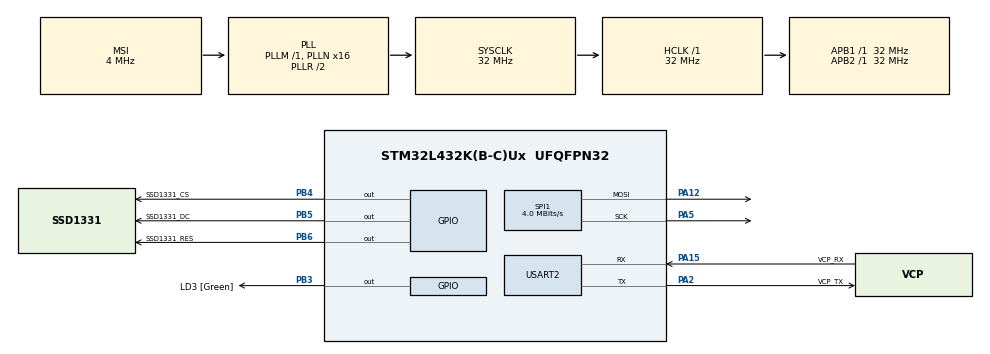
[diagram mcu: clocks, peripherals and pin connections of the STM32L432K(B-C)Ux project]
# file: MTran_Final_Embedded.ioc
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Mcu.Family=STM32L4
Mcu.Name=STM32L432K(B-C)Ux
Mcu.Package=UFQFPN32
NVIC.PriorityGroup=NVIC_PRIORITYGROUP_4
PA0.GPIO_Label=MCO [High speed clock in]
PA0.Mode=HSE-External-Clock-Source-for-LittleOrca
PA0.Signal=RCC_CK_IN
PA12.Mode=TX_Only_Simplex_Unidirect_Master
PA12.Signal=SPI1_MOSI
PA13\ (JTMS-SWDIO).GPIO_Label=SWDIO
PA13\ (JTMS-SWDIO).Mode=Serial_Wire
PA13\ (JTMS-SWDIO).Signal=SYS_JTMS-SWDIO
PA14\ (JTCK-SWCLK).GPIO_Label=SWCLK
PA14\ (JTCK-SWCLK).Mode=Serial_Wire
PA14\ (JTCK-SWCLK).Signal=SYS_JTCK-SWCLK
PA15\ (JTDI).GPIO_Label=VCP_RX
PA15\ (JTDI).Mode=Asynchronous
PA15\ (JTDI).Signal=USART2_RX
PA2.GPIO_Label=VCP_TX
PA2.Mode=Asynchronous
PA2.Signal=USART2_TX
PA5.Mode=TX_Only_Simplex_Unidirect_Master
PA5.Signal=SPI1_SCK
PB3\ (JTDO-TRACESWO).GPIO_Label=LD3 [Green]
PB3\ (JTDO-TRACESWO).Signal=GPIO_Output
PB4\ (NJTRST).GPIO_Label=SSD1331_CS
PB4\ (NJTRST).Signal=GPIO_Output
PB5.GPIO_Label=SSD1331_DC
PB5.Signal=GPIO_Output
PB6.GPIO_Label=SSD1331_RES
PB6.Signal=GPIO_Output
PC14-OSC32_IN\ (PC14).Mode=LSE-External-Oscillator
PC14-OSC32_IN\ (PC14).Signal=RCC_OSC32_IN
PC15-OSC32_OUT\ (PC15).Mode=LSE-External-Oscillator
PC15-OSC32_OUT\ (PC15).Signal=RCC_OSC32_OUT
ProjectManager.HeapSize=0x200
ProjectManager.StackSize=0x400
ProjectManager.TargetToolchain=STM32CubeIDE
RCC.ADCFreq_Value=32000000
RCC.AHBFreq_Value=32000000
RCC.APB1Freq_Value=32000000
RCC.APB1TimFreq_Value=32000000
RCC.APB2Freq_Value=32000000
RCC.APB2TimFreq_Value=32000000
RCC.CortexFreq_Value=32000000
RCC.HCLKFreq_Value=32000000
RCC.HSE_VALUE=8000000
RCC.HSI16_VALUE=16000000
RCC.HSI48_VALUE=48000000
RCC.HSI_VALUE=16000000
RCC.MSI_VALUE=4000000
RCC.PLLMUL=RCC_PLLMUL_4
RCC.PLLN=16
RCC.PLLSAI1N=16
RCC.SYSCLKFreq_VALUE=32000000
RCC.SYSCLKSource=RCC_SYSCLKSOURCE_PLLCLK
RCC.USBFreq_Value=32000000
RCC.VCOOutputFreq_Value=64000000
SPI1.BaudRatePrescaler=SPI_BAUDRATEPRESCALER_8
SPI1.CalculateBaudRate=4.0 MBits/s
SPI1.DataSize=SPI_DATASIZE_8BIT
SPI1.Direction=SPI_DIRECTION_2LINES
SPI1.Mode=SPI_MODE_MASTER
SPI1.VirtualType=VM_MASTER
USART2.VirtualMode-Asynchronous=VM_ASYNC
board=NUCLEO-L432KC

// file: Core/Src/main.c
/* USER CODE BEGIN Header */
/**
  ******************************************************************************
  * @file           : main.c
  * @brief          : Main program body
  ******************************************************************************
  * @attention
  *
  * Copyright (c) 2022 STMicroelectronics.
  * All rights reserved.
  *
  * This software is licensed under terms that can be found in the LICENSE file
  * in the root directory of this software component.
  * If no LICENSE file comes with this software, it is provided AS-IS.
  *
  ******************************************************************************
  */

/*
* FILE : main.c
* PROJECT : Final
* PROGRAMMER : Minh Quan Tran
* FIRST VERSION : 2024-08-15
* DESCRIPTION : This file is the main code file to calculate BMI
* and display it to the OLed
*/
/* USER CODE END Header */
#include "main.h"

/* USER CODE BEGIN Includes */
#include "ssd1331.h"
#include "logo.h"
#include "stm32l4xx_hal_tim.h"
#include <string.h>
#include <stdio.h>
#include <stdbool.h>
/* USER CODE END Includes */

/* USER CODE BEGIN PTD */
typedef struct
{
	char  name[20];
	float height;
	float weight;
	float BMI;
} userInfo;
/* USER CODE END PTD */

SPI_HandleTypeDef hspi1;

UART_HandleTypeDef huart2;

void SystemClock_Config(void);
static void MX_GPIO_Init(void);
static void MX_USART2_UART_Init(void);
static void MX_SPI1_Init(void);

/* USER CODE BEGIN 0 */
void getUserName(userInfo *user)
{
	// Clear last display
	ssd1331_display_string(5, 10, "            ", FONT_1206, WHITE);
	ssd1331_display_string(5, 20, "            ", FONT_1206, WHITE);

	// Get user name
	ssd1331_display_string(5, 10, "Name?", FONT_1206, WHITE);
	scanf("%s",user->name);
	printf("Name: %s\r\n",user->name);

	//Display user Name on OLed
	ssd1331_display_string(5, 20, user->name, FONT_1206, WHITE);

}

void getUserHeight(userInfo *user)
{
	// Clear last display
	ssd1331_display_string(5, 10, "        ", FONT_1206, WHITE);
	ssd1331_display_string(5, 20, "        ", FONT_1206, WHITE);

	// Get user height
	ssd1331_display_string(5, 10, "Height?", FONT_1206, WHITE);
	scanf("%f",&(user->height));
	printf("Height: %.2f",user->height);

	//Convert height to string then display to Oled
	char strHeight[10];
	sprintf(strHeight,"%.2f",user->height);
	ssd1331_display_string(5, 20, strHeight, FONT_1206, WHITE);
}

void getUserWeight(userInfo *user)
{
	// Clear last display
	ssd1331_display_string(5, 10, "        ", FONT_1206, WHITE);
	ssd1331_display_string(5, 20, "        ", FONT_1206, WHITE);

	// Get user weight
	ssd1331_display_string(5, 10, "Weight?", FONT_1206, WHITE);
	scanf("%f",&(user->weight));
	printf("Weight: %.2f\r\n",user->weight);

	//Convert weight to string then display to Oled
	char strWeight[10];
	sprintf(strWeight,"%.2f",user->weight);
	ssd1331_display_string(5, 20, strWeight, FONT_1206, WHITE);
}

void calculateBMI(userInfo *user)
{
	user->BMI = user->weight / (user->height * user->height);
}

void displayUserBMI(userInfo *user)
{
	// Clear last display
	ssd1331_display_string(5, 10, "        ", FONT_1206, WHITE);
	ssd1331_display_string(5, 20, "        ", FONT_1206, WHITE);

	//Convert BMI to string then display to Oled
	char strBMI[10];
	char strBuffer[20];
	strcpy(strBuffer,user->name);
	strcat(strBuffer,":");
	sprintf(strBMI,"%.2f",user->BMI);
	strcat(strBuffer,strBMI);
	ssd1331_display_string(5, 10, strBuffer, FONT_1206, WHITE);
}

/* USER CODE END 0 */

int main(void)
{
  /* USER CODE BEGIN 1 */
	uint8_t  clinicState = 0;
	userInfo customer;
  /* USER CODE END 1 */

  /* MCU Configuration--------------------------------------------------------*/

  /* Reset of all peripherals, Initializes the Flash interface and the Systick. */
  HAL_Init();

  /* Configure the system clock */
  SystemClock_Config();

  /* Initialize all configured peripherals */
  MX_GPIO_Init();
  MX_USART2_UART_Init();
  MX_SPI1_Init();
  /* USER CODE BEGIN 2 */

  // Start OLed and Display a green rectangle
  ssd1331_init();
  ssd1331_clear_screen(BLACK);
  ssd1331_draw_rect(0, 0, 90, 60, GREEN);
  /* USER CODE END 2 */

  /* Infinite loop */
  /* USER CODE BEGIN WHILE */
  while (1)
  {
	 switch(clinicState)
	 {
	 	 case 0:
	 		getUserName(&customer);
	 		if (customer.name[0] == '0')
	 		{
	 			clinicState = 0;
	 		}
	 		else
	 		{
				HAL_Delay(2000);
				clinicState = 1;
	 		}
	 	 case 1:
	 		getUserHeight(&customer);
	 		if (customer.height != 0.0)
	 		{
				HAL_Delay(2000);
				clinicState = 2;
	 		}
	 		else
	 		{
	 			clinicState = 0;
	 		}
	 	 case 2:
	 		getUserWeight(&customer);
	 		if (customer.weight != 0.0)
	 		{
				HAL_Delay(2000);
				clinicState = 2;
	 		}
	 		else
	 		{
	 			clinicState = 0;
	 		}
	 	 case 3:
	 		calculateBMI(&customer);
	 		displayUserBMI(&customer);

	 		//End of state
	 		printf("~~~~~~~~~~~\r\n");
	 		HAL_Delay(2000);
	 		clinicState = 0;
	 }

    /* USER CODE END WHILE */

    /* USER CODE BEGIN 3 */
  }
  return 0;
  /* USER CODE END 3 */
}

void SystemClock_Config(void)
{
  RCC_OscInitTypeDef RCC_OscInitStruct = {0};
  RCC_ClkInitTypeDef RCC_ClkInitStruct = {0};

  /** Configure the main internal regulator output voltage
  */
  if (HAL_PWREx_ControlVoltageScaling(PWR_REGULATOR_VOLTAGE_SCALE1) != HAL_OK)
  {
    Error_Handler();
  }

  /** Configure LSE Drive Capability
  */
  HAL_PWR_EnableBkUpAccess();
  __HAL_RCC_LSEDRIVE_CONFIG(RCC_LSEDRIVE_LOW);

  /** Initializes the RCC Oscillators according to the specified parameters
  * in the RCC_OscInitTypeDef structure.
  */
  RCC_OscInitStruct.OscillatorType = RCC_OSCILLATORTYPE_LSE|RCC_OSCILLATORTYPE_MSI;
  RCC_OscInitStruct.LSEState = RCC_LSE_ON;
  RCC_OscInitStruct.MSIState = RCC_MSI_ON;
  RCC_OscInitStruct.MSICalibrationValue = 0;
  RCC_OscInitStruct.MSIClockRange = RCC_MSIRANGE_6;
  RCC_OscInitStruct.PLL.PLLState = RCC_PLL_ON;
  RCC_OscInitStruct.PLL.PLLSource = RCC_PLLSOURCE_MSI;
  RCC_OscInitStruct.PLL.PLLM = 1;
  RCC_OscInitStruct.PLL.PLLN = 16;
  RCC_OscInitStruct.PLL.PLLP = RCC_PLLP_DIV7;
  RCC_OscInitStruct.PLL.PLLQ = RCC_PLLQ_DIV2;
  RCC_OscInitStruct.PLL.PLLR = RCC_PLLR_DIV2;
  if (HAL_RCC_OscConfig(&RCC_OscInitStruct) != HAL_OK)
  {
    Error_Handler();
  }

  /** Initializes the CPU, AHB and APB buses clocks
  */
  RCC_ClkInitStruct.ClockType = RCC_CLOCKTYPE_HCLK|RCC_CLOCKTYPE_SYSCLK
                              |RCC_CLOCKTYPE_PCLK1|RCC_CLOCKTYPE_PCLK2;
  RCC_ClkInitStruct.SYSCLKSource = RCC_SYSCLKSOURCE_PLLCLK;
  RCC_ClkInitStruct.AHBCLKDivider = RCC_SYSCLK_DIV1;
  RCC_ClkInitStruct.APB1CLKDivider = RCC_HCLK_DIV1;
  RCC_ClkInitStruct.APB2CLKDivider = RCC_HCLK_DIV1;

  if (HAL_RCC_ClockConfig(&RCC_ClkInitStruct, FLASH_LATENCY_1) != HAL_OK)
  {
    Error_Handler();
  }

  /** Enable MSI Auto calibration
  */
  HAL_RCCEx_EnableMSIPLLMode();
}

static void MX_SPI1_Init(void)
{

  /* SPI1 parameter configuration*/
  hspi1.Instance = SPI1;
  hspi1.Init.Mode = SPI_MODE_MASTER;
  hspi1.Init.Direction = SPI_DIRECTION_2LINES;
  hspi1.Init.DataSize = SPI_DATASIZE_8BIT;
  hspi1.Init.CLKPolarity = SPI_POLARITY_LOW;
  hspi1.Init.CLKPhase = SPI_PHASE_1EDGE;
  hspi1.Init.NSS = SPI_NSS_SOFT;
  hspi1.Init.BaudRatePrescaler = SPI_BAUDRATEPRESCALER_8;
  hspi1.Init.FirstBit = SPI_FIRSTBIT_MSB;
  hspi1.Init.TIMode = SPI_TIMODE_DISABLE;
  hspi1.Init.CRCCalculation = SPI_CRCCALCULATION_DISABLE;
  hspi1.Init.CRCPolynomial = 7;
  hspi1.Init.CRCLength = SPI_CRC_LENGTH_DATASIZE;
  hspi1.Init.NSSPMode = SPI_NSS_PULSE_ENABLE;
  if (HAL_SPI_Init(&hspi1) != HAL_OK)
  {
    Error_Handler();
  }

}

static void MX_USART2_UART_Init(void)
{

  huart2.Instance = USART2;
  huart2.Init.BaudRate = 115200;
  huart2.Init.WordLength = UART_WORDLENGTH_8B;
  huart2.Init.StopBits = UART_STOPBITS_1;
  huart2.Init.Parity = UART_PARITY_NONE;
  huart2.Init.Mode = UART_MODE_TX_RX;
  huart2.Init.HwFlowCtl = UART_HWCONTROL_NONE;
  huart2.Init.OverSampling = UART_OVERSAMPLING_16;
  huart2.Init.OneBitSampling = UART_ONE_BIT_SAMPLE_DISABLE;
  huart2.AdvancedInit.AdvFeatureInit = UART_ADVFEATURE_NO_INIT;
  if (HAL_UART_Init(&huart2) != HAL_OK)
  {
    Error_Handler();
  }

}

static void MX_GPIO_Init(void)
{
  GPIO_InitTypeDef GPIO_InitStruct = {0};

  /* GPIO Ports Clock Enable */
  __HAL_RCC_GPIOC_CLK_ENABLE();
  __HAL_RCC_GPIOA_CLK_ENABLE();
  __HAL_RCC_GPIOB_CLK_ENABLE();

  /*Configure GPIO pin Output Level */
  HAL_GPIO_WritePin(GPIOB, LD3_Pin|SSD1331_CS_Pin|SSD1331_DC_Pin|SSD1331_RES_Pin, GPIO_PIN_RESET);

  /*Configure GPIO pins : LD3_Pin SSD1331_CS_Pin SSD1331_DC_Pin SSD1331_RES_Pin */
  GPIO_InitStruct.Pin = LD3_Pin|SSD1331_CS_Pin|SSD1331_DC_Pin|SSD1331_RES_Pin;
  GPIO_InitStruct.Mode = GPIO_MODE_OUTPUT_PP;
  GPIO_InitStruct.Pull = GPIO_NOPULL;
  GPIO_InitStruct.Speed = GPIO_SPEED_FREQ_LOW;
  HAL_GPIO_Init(GPIOB, &GPIO_InitStruct);

}

void Error_Handler(void)
{
  __disable_irq();
  while (1)
  {
  }
}
